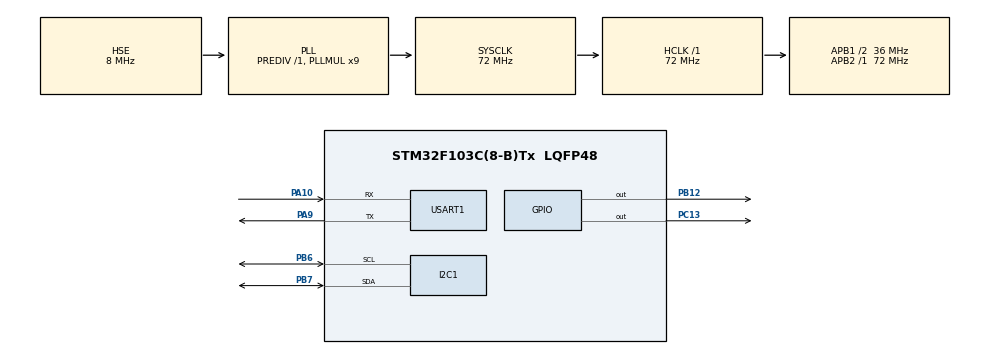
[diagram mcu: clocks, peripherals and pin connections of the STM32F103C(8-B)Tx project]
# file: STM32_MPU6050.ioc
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Mcu.Family=STM32F1
Mcu.Name=STM32F103C(8-B)Tx
Mcu.Package=LQFP48
NVIC.PriorityGroup=NVIC_PRIORITYGROUP_4
PA10.Mode=Asynchronous
PA10.Signal=USART1_RX
PA13.Mode=Serial_Wire
PA13.Signal=SYS_JTMS-SWDIO
PA14.Mode=Serial_Wire
PA14.Signal=SYS_JTCK-SWCLK
PA9.Mode=Asynchronous
PA9.Signal=USART1_TX
PB12.Signal=GPIO_Output
PB6.Mode=I2C
PB6.Signal=I2C1_SCL
PB7.Mode=I2C
PB7.Signal=I2C1_SDA
PC13-TAMPER-RTC.Signal=GPIO_Output
PD0-OSC_IN.Mode=HSE-External-Oscillator
PD0-OSC_IN.Signal=RCC_OSC_IN
PD1-OSC_OUT.Mode=HSE-External-Oscillator
PD1-OSC_OUT.Signal=RCC_OSC_OUT
ProjectManager.HeapSize=0x200
ProjectManager.StackSize=0x400
ProjectManager.TargetToolchain=MDK-ARM V5.32
RCC.AHBFreq_Value=72000000
RCC.APB1CLKDivider=RCC_HCLK_DIV2
RCC.APB1Freq_Value=36000000
RCC.APB1TimFreq_Value=72000000
RCC.APB2Freq_Value=72000000
RCC.APB2TimFreq_Value=72000000
RCC.HCLKFreq_Value=72000000
RCC.PLLMUL=RCC_PLL_MUL9
RCC.PLLSourceVirtual=RCC_PLLSOURCE_HSE
RCC.SYSCLKFreq_VALUE=72000000
RCC.SYSCLKSource=RCC_SYSCLKSOURCE_PLLCLK
RCC.USBFreq_Value=72000000
USART1.VirtualMode=VM_ASYNC
board=custom

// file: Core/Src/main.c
/* USER CODE BEGIN Header */
/**
  ******************************************************************************
  * @file           : main.c
  * @brief          : Main program body
  ******************************************************************************
  * @attention
  *
  * Copyright (c) 2022 STMicroelectronics.
  * All rights reserved.
  *
  * This software is licensed under terms that can be found in the LICENSE file
  * in the root directory of this software component.
  * If no LICENSE file comes with this software, it is provided AS-IS.
  *
  ******************************************************************************
  */
/* USER CODE END Header */
#include "main.h"
#include "i2c.h"
#include "usart.h"
#include "gpio.h"

/* USER CODE BEGIN Includes */
#include "bsp_imu.h"
#include "stdio.h"
/* USER CODE END Includes */

void SystemClock_Config(void);

int main(void)
{

  /* MCU Configuration--------------------------------------------------------*/

  /* Reset of all peripherals, Initializes the Flash interface and the Systick. */
  HAL_Init();

  /* Configure the system clock */
  SystemClock_Config();

  /* Initialize all configured peripherals */
  MX_GPIO_Init();
  MX_USART1_UART_Init();
  MX_I2C1_Init();
  /* USER CODE BEGIN 2 */
printf("success");
	mpu_device_init();
	init_quaternion();

	printf("success");
	mpu_get_data();
	imu_ahrs_update();
	imu_attitude_update();
	HAL_Delay(1000);
  /* USER CODE END 2 */

  /* Infinite loop */
  while (1)
  {

    /* USER CODE BEGIN 3 */
			mpu_get_data();
			imu_ahrs_update();
			imu_attitude_update();
		printf("%f\n", imu.pit);

  }
  /* USER CODE END 3 */
}

void SystemClock_Config(void)
{
  RCC_OscInitTypeDef RCC_OscInitStruct = {0};
  RCC_ClkInitTypeDef RCC_ClkInitStruct = {0};

  /** Initializes the RCC Oscillators according to the specified parameters
  * in the RCC_OscInitTypeDef structure.
  */
  RCC_OscInitStruct.OscillatorType = RCC_OSCILLATORTYPE_HSE;
  RCC_OscInitStruct.HSEState = RCC_HSE_ON;
  RCC_OscInitStruct.HSEPredivValue = RCC_HSE_PREDIV_DIV1;
  RCC_OscInitStruct.HSIState = RCC_HSI_ON;
  RCC_OscInitStruct.PLL.PLLState = RCC_PLL_ON;
  RCC_OscInitStruct.PLL.PLLSource = RCC_PLLSOURCE_HSE;
  RCC_OscInitStruct.PLL.PLLMUL = RCC_PLL_MUL9;
  if (HAL_RCC_OscConfig(&RCC_OscInitStruct) != HAL_OK)
  {
    Error_Handler();
  }
  /** Initializes the CPU, AHB and APB buses clocks
  */
  RCC_ClkInitStruct.ClockType = RCC_CLOCKTYPE_HCLK|RCC_CLOCKTYPE_SYSCLK
                              |RCC_CLOCKTYPE_PCLK1|RCC_CLOCKTYPE_PCLK2;
  RCC_ClkInitStruct.SYSCLKSource = RCC_SYSCLKSOURCE_PLLCLK;
  RCC_ClkInitStruct.AHBCLKDivider = RCC_SYSCLK_DIV1;
  RCC_ClkInitStruct.APB1CLKDivider = RCC_HCLK_DIV2;
  RCC_ClkInitStruct.APB2CLKDivider = RCC_HCLK_DIV1;

  if (HAL_RCC_ClockConfig(&RCC_ClkInitStruct, FLASH_LATENCY_2) != HAL_OK)
  {
    Error_Handler();
  }
}

/* USER CODE BEGIN 4 */
int fputc(int ch,FILE *f)
{
    uint32_t temp = ch;

    HAL_UART_Transmit(&huart1,(uint8_t *)&temp,1,1000);
    return ch;
}
/* USER CODE END 4 */

void Error_Handler(void)
{
  __disable_irq();
  while (1)
  {
  }
}
